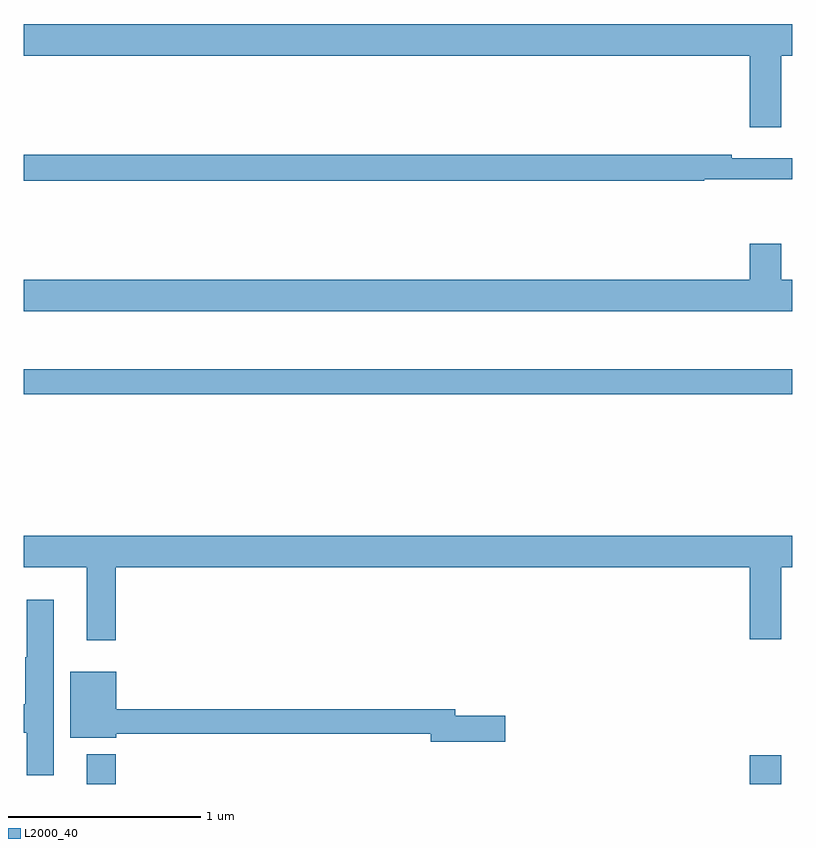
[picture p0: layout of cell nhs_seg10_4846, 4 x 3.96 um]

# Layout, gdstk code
import gdstk
lib = gdstk.Library(unit=1e-6, precision=1e-09)
def R(c, l, rs):  # rectangles x0, y0, x1, y1
    for r in rs: c.add(gdstk.rectangle(r[:2], r[2:], *l))
def P(c, l, *ps):  # polygons
    for p in ps: c.add(gdstk.Polygon(p, *l))
L2000_40 = (2000, 40)

nhs_seg10_4846 = lib.new_cell('nhs_seg10_4846')
R(nhs_seg10_4846, L2000_40, [(389.327,1320.5,389.48,1320.655), (392.78,1320.5,392.944,1320.649), (389,1322.53,393,1322.659)])
P(nhs_seg10_4846, L2000_40, [(392.944,1324.292),(393,1324.292),(393,1324.456),(389,1324.456),(389,1324.292),(392.78,1324.292),(392.78,1323.918),(392.944,1323.918)],
  [(392.542,1323.648),(393,1323.648),(393,1323.757),(392.684,1323.757),(392.684,1323.776),(389,1323.776),(389,1323.64),(392.542,1323.64)],
  [(393,1323.124),(392.944,1323.124),(392.944,1323.313),(392.78,1323.313),(392.78,1323.124),(389,1323.124),(389,1322.96),(393,1322.96)],
  [(389.48,1321.628),(392.78,1321.628),(392.78,1321.254),(392.944,1321.254),(392.944,1321.628),(393,1321.628),(393,1321.792),(389,1321.792),(389,1321.628),(389.327,1321.628),(389.327,1321.248),(389.48,1321.248)],
  [(389.155,1321.459),(389.015,1321.459),(389.015,1321.16),(389.008,1321.16),(389.008,1320.915),(389,1320.915),(389,1320.767),(389.015,1320.767),(389.015,1320.546),(389.155,1320.546)],
  [(391.507,1320.854),(391.246,1320.854),(391.246,1320.89),(389.482,1320.89),(389.482,1321.084),(389.243,1321.084),(389.243,1320.74),(389.482,1320.74),(389.482,1320.762),(391.118,1320.762),(391.118,1320.719),(391.507,1320.719)])

lib.write_gds('nhs_seg10_4846.gds')
